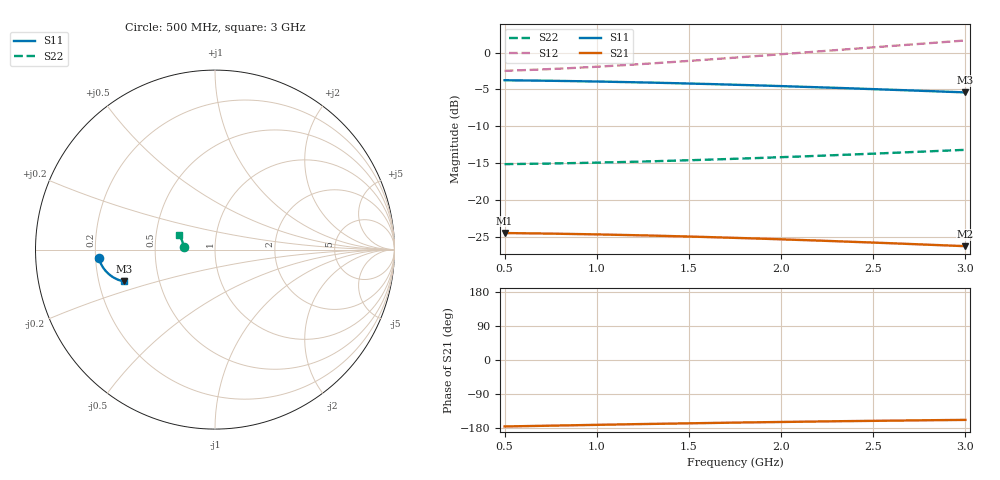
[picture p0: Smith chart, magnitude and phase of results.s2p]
! rfsim (KiCad + openEMS)
# HZ S RI R 50
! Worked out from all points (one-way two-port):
!   251 points, 500 MHz to 3 GHz, reference 50 ohm
!   highest |S21| = -24.41 dB at 500 MHz (marker M1); lowest = -26.2 dB at 3 GHz (marker M2)
!   lowest |S11| = -5.4 dB at 3 GHz (marker M3), VSWR 3.32, Z = 15.4 - j7.71 ohm
!   |S11| at or under -10 dB: nowhere
!   |S22| runs from -15.1 to -13.2 dB; largest |S21 - S12| = 1.2
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5e8  -0.6476 -0.0464  -0.06 -0.00479  -0.7415 0.1246  -0.1752 0.0148
6e8  -0.645 -0.0554  -0.0597 -0.00571  -0.7445 0.1494  -0.1756 0.0178
7e8  -0.642 -0.0641  -0.0594 -0.00661  -0.748 0.1742  -0.176 0.0207
8.1e8  -0.6381 -0.0734  -0.059 -0.00757  -0.7525 0.2014  -0.1765 0.0239
9.2e8  -0.6338 -0.0824  -0.0585 -0.0085  -0.7576 0.2285  -0.1771 0.0272
1.02e9  -0.6295 -0.0903  -0.0581 -0.00932  -0.7629 0.253  -0.1777 0.0301
1.13e9  -0.6244 -0.0987  -0.0576 -0.0102  -0.7693 0.2799  -0.1785 0.0333
1.23e9  -0.6194 -0.106  -0.0571 -0.0109  -0.7757 0.3042  -0.1792 0.0362
1.34e9  -0.6136 -0.1136  -0.0565 -0.0117  -0.7833 0.3309  -0.1801 0.0393
1.54e9  -0.6022 -0.1263  -0.0553 -0.013  -0.7989 0.3789  -0.182 0.045
1.64e9  -0.5962 -0.1322  -0.0547 -0.0136  -0.8074 0.4027  -0.183 0.0479
1.75e9  -0.5895 -0.1382  -0.054 -0.0143  -0.8175 0.4287  -0.1842 0.051
1.85e9  -0.5831 -0.1433  -0.0533 -0.0148  -0.8272 0.4522  -0.1853 0.0537
1.96e9  -0.576 -0.1485  -0.0526 -0.0153  -0.8385 0.4778  -0.1867 0.0568
2.06e9  -0.5695 -0.1528  -0.0519 -0.0158  -0.8494 0.5009  -0.1879 0.0595
2.17e9  -0.5622 -0.1572  -0.0512 -0.0162  -0.8619 0.5261  -0.1894 0.0625
2.27e9  -0.5555 -0.1608  -0.0505 -0.0166  -0.8739 0.5488  -0.1908 0.0652
2.38e9  -0.5482 -0.1644  -0.0497 -0.017  -0.8877 0.5735  -0.1925 0.0682
2.48e9  -0.5415 -0.1673  -0.049 -0.0173  -0.9008 0.5957  -0.194 0.0708
2.59e9  -0.5341 -0.1701  -0.0483 -0.0176  -0.9158 0.6199  -0.1958 0.0737
2.79e9  -0.5208 -0.1743  -0.0469 -0.018  -0.9447 0.663  -0.1992 0.0788
3e9  -0.5071 -0.1775  -0.0455 -0.0183  -0.9773 0.7071  -0.2031 0.0841
